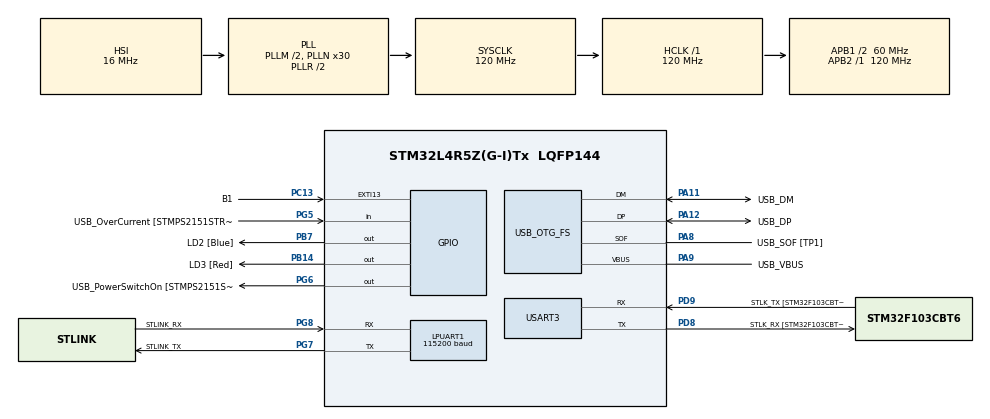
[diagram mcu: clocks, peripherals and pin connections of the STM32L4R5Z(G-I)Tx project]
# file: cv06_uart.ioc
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Dma.LPUART1_RX.0.Direction=DMA_PERIPH_TO_MEMORY
Dma.LPUART1_RX.0.EventEnable=DISABLE
Dma.LPUART1_RX.0.Instance=DMA1_Channel1
Dma.LPUART1_RX.0.MemDataAlignment=DMA_MDATAALIGN_BYTE
Dma.LPUART1_RX.0.MemInc=DMA_MINC_ENABLE
Dma.LPUART1_RX.0.Mode=DMA_NORMAL
Dma.LPUART1_RX.0.PeriphDataAlignment=DMA_PDATAALIGN_BYTE
Dma.LPUART1_RX.0.PeriphInc=DMA_PINC_DISABLE
Dma.LPUART1_RX.0.Polarity=HAL_DMAMUX_REQUEST_GEN_RISING
Dma.LPUART1_RX.0.Priority=DMA_PRIORITY_LOW
Dma.LPUART1_RX.0.RequestNumber=1
Dma.LPUART1_RX.0.SignalID=NONE
Dma.LPUART1_RX.0.SyncEnable=DISABLE
Dma.LPUART1_RX.0.SyncPolarity=HAL_DMAMUX_SYNC_NO_EVENT
Dma.LPUART1_RX.0.SyncRequestNumber=1
Dma.LPUART1_RX.0.SyncSignalID=NONE
Dma.LPUART1_TX.1.Direction=DMA_MEMORY_TO_PERIPH
Dma.LPUART1_TX.1.EventEnable=DISABLE
Dma.LPUART1_TX.1.Instance=DMA1_Channel2
Dma.LPUART1_TX.1.MemDataAlignment=DMA_MDATAALIGN_BYTE
Dma.LPUART1_TX.1.MemInc=DMA_MINC_ENABLE
Dma.LPUART1_TX.1.Mode=DMA_NORMAL
Dma.LPUART1_TX.1.PeriphDataAlignment=DMA_PDATAALIGN_BYTE
Dma.LPUART1_TX.1.PeriphInc=DMA_PINC_DISABLE
Dma.LPUART1_TX.1.Polarity=HAL_DMAMUX_REQUEST_GEN_RISING
Dma.LPUART1_TX.1.Priority=DMA_PRIORITY_LOW
Dma.LPUART1_TX.1.RequestNumber=1
Dma.LPUART1_TX.1.SignalID=NONE
Dma.LPUART1_TX.1.SyncEnable=DISABLE
Dma.LPUART1_TX.1.SyncPolarity=HAL_DMAMUX_SYNC_NO_EVENT
Dma.LPUART1_TX.1.SyncRequestNumber=1
Dma.LPUART1_TX.1.SyncSignalID=NONE
Dma.Request0=LPUART1_RX
Dma.Request1=LPUART1_TX
LPUART1.BaudRate=115200
LPUART1.WordLength=UART_WORDLENGTH_8B
Mcu.Family=STM32L4
Mcu.Name=STM32L4R5Z(G-I)Tx
Mcu.Package=LQFP144
NVIC.DMA1_Channel1_IRQn=true\:0\:0\:false\:false\:true\:false\:true\:true
NVIC.DMA1_Channel2_IRQn=true\:0\:0\:false\:false\:true\:false\:true\:true
NVIC.LPUART1_IRQn=true\:0\:0\:false\:false\:true\:true\:true\:true
NVIC.PriorityGroup=NVIC_PRIORITYGROUP_4
PA10.GPIO_Label=USB_ID
PA10.Signal=USB_OTG_FS_ID
PA11.GPIO_Label=USB_DM
PA11.Mode=Device_Only
PA11.Signal=USB_OTG_FS_DM
PA12.GPIO_Label=USB_DP
PA12.Mode=Device_Only
PA12.Signal=USB_OTG_FS_DP
PA13\ (JTMS/SWDIO).GPIO_Label=TMS
PA13\ (JTMS/SWDIO).Mode=Trace_Asynchronous_SW
PA13\ (JTMS/SWDIO).Signal=SYS_JTMS-SWDIO
PA14\ (JTCK/SWCLK).GPIO_Label=TCK
PA14\ (JTCK/SWCLK).Mode=Trace_Asynchronous_SW
PA14\ (JTCK/SWCLK).Signal=SYS_JTCK-SWCLK
PA8.GPIO_Label=USB_SOF [TP1]
PA8.Mode=Activate_SOF_FS
PA8.Signal=USB_OTG_FS_SOF
PA9.GPIO_Label=USB_VBUS
PA9.Mode=Activate_VBUS
PA9.Signal=USB_OTG_FS_VBUS
PB14.GPIO_Label=LD3 [Red]
PB14.Signal=GPIO_Output
PB3\ (JTDO/TRACESWO).GPIO_Label=SWO
PB3\ (JTDO/TRACESWO).Mode=Trace_Asynchronous_SW
PB3\ (JTDO/TRACESWO).Signal=SYS_JTDO-SWO
PB7.GPIO_Label=LD2 [Blue]
PB7.Signal=GPIO_Output
PC13.GPIO_Label=B1
PC13.Signal=GPXTI13
PC14-OSC32_IN\ (PC14).Mode=LSE-External-Oscillator
PC14-OSC32_IN\ (PC14).Signal=RCC_OSC32_IN
PC15-OSC32_OUT\ (PC15).Mode=LSE-External-Oscillator
PC15-OSC32_OUT\ (PC15).Signal=RCC_OSC32_OUT
PD8.GPIO_Label=STLK_RX [STM32F103CBT6_PA3]
PD8.Mode=Asynchronous
PD8.Signal=USART3_TX
PD9.GPIO_Label=STLK_TX [STM32F103CBT6_PA2]
PD9.Mode=Asynchronous
PD9.Signal=USART3_RX
PG5.GPIO_Label=USB_OverCurrent [STMPS2151STR_FAULT]
PG5.Signal=GPIO_Input
PG6.GPIO_Label=USB_PowerSwitchOn [STMPS2151STR_EN]
PG6.Signal=GPIO_Output
PG7.GPIO_Label=STLINK_TX
PG7.Mode=Asynchronous
PG7.Signal=LPUART1_TX
PG8.GPIO_Label=STLINK_RX
PG8.Mode=Asynchronous
PG8.Signal=LPUART1_RX
PH0-OSC_IN\ (PH0).Signal=RCC_OSC_IN
PH1-OSC_OUT\ (PH1).Signal=RCC_OSC_OUT
ProjectManager.HeapSize=0x200
ProjectManager.StackSize=0x400
ProjectManager.TargetToolchain=STM32CubeIDE
RCC.48MHZClocksFreq_Value=24000000
RCC.ADCFreq_Value=96000000
RCC.AHBFreq_Value=120000000
RCC.APB1CLKDivider=RCC_HCLK_DIV2
RCC.APB1Freq_Value=60000000
RCC.APB1TimFreq_Value=120000000
RCC.APB2Freq_Value=120000000
RCC.APB2TimFreq_Value=120000000
RCC.CK48CLockSelection=RCC_USBCLKSOURCE_HSI48
RCC.CortexFreq_Value=120000000
RCC.HCLKFreq_Value=120000000
RCC.HSE_VALUE=8000000
RCC.HSI48_VALUE=48000000
RCC.HSI_VALUE=16000000
RCC.MSI_VALUE=4000000
RCC.PLLM1=2
RCC.PLLMUL=RCC_PLL_MUL9
RCC.PLLN=30
RCC.PLLSAI1N=12
RCC.PLLSourceVirtual=RCC_PLLSOURCE_HSI
RCC.PRESCALERUSB=RCC_USBCLKSOURCE_PLL_DIV1_5
RCC.SYSCLKFreq_VALUE=120000000
RCC.SYSCLKSource=RCC_SYSCLKSOURCE_PLLCLK
RCC.SYSCLKSourceVirtual=RCC_SYSCLKSOURCE_PLLCLK
RCC.USBFreq_Value=48000000
RCC.VCOOutputFreq_Value=240000000
USART3.VirtualMode-Asynchronous=VM_ASYNC
USB_OTG_FS.VirtualMode=Device_Only
board=NUCLEO-L4R5ZI

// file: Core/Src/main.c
/* USER CODE BEGIN Header */
/**
  ******************************************************************************
  * @file           : main.c
  * @brief          : Main program body
  ******************************************************************************
  * @attention
  *
  * Copyright (c) 2025 STMicroelectronics.
  * All rights reserved.
  *
  * This software is licensed under terms that can be found in the LICENSE file
  * in the root directory of this software component.
  * If no LICENSE file comes with this software, it is provided AS-IS.
  *
  ******************************************************************************
  */
/* USER CODE END Header */
#include "main.h"

/* USER CODE BEGIN Includes */
#include "stdbool.h"
#include "string.h"
#include "stdio.h"
/* USER CODE END Includes */

UART_HandleTypeDef hlpuart1;
UART_HandleTypeDef huart3;
DMA_HandleTypeDef hdma_lpuart1_rx;
DMA_HandleTypeDef hdma_lpuart1_tx;

PCD_HandleTypeDef hpcd_USB_OTG_FS;

/* USER CODE BEGIN PV */
uint32_t blik_counter = 0;
bool blik_bool = true;
uint32_t cntr = 0;
char str[100];
uint32_t time_end;
uint32_t time_start;
uint32_t time_start2;

/* USER CODE END PV */

void SystemClock_Config(void);
static void MX_GPIO_Init(void);
static void MX_DMA_Init(void);
static void MX_LPUART1_UART_Init(void);
static void MX_USART3_UART_Init(void);
static void MX_USB_OTG_FS_PCD_Init(void);

/* USER CODE BEGIN 0 */
bool tx_in_process;
uint32_t len_process;
void HAL_UART_TxCpltCallback(UART_HandleTypeDef *huart){
	time_end = HAL_GetTick();
	time_start2 = time_start;
	tx_in_process = false;
	blik_bool = false;
}

/* USER CODE END 0 */

int main(void)
{

  /* MCU Configuration--------------------------------------------------------*/

  /* Reset of all peripherals, Initializes the Flash interface and the Systick. */
  HAL_Init();

  /* Configure the system clock */
  SystemClock_Config();

  /* Initialize all configured peripherals */
  MX_GPIO_Init();
  MX_DMA_Init();
  MX_LPUART1_UART_Init();
  MX_USART3_UART_Init();
  MX_USB_OTG_FS_PCD_Init();
  /* USER CODE BEGIN 2 */
  uint32_t state = 1;
  char type_of_transmit[15];
  char rxbuffer[10];
  uint8_t rxpos;
  HAL_StatusTypeDef err;
  /* USER CODE END 2 */

  /* Infinite loop */
  while (1)
  {

    /* USER CODE BEGIN 3 */
//	  HAL_UART_Transmit(&hlpuart1, (uint8_t *)"\r\nStart Programu\r\n", 18, 100);
//	  while (1){
//		  if (HAL_UART_Receive(&hlpuart1, (uint8_t *)&rxbuffer[rxpos], 1, 0) == HAL_OK){
//			  if (rxbuffer[rxpos] == '\r' || rxbuffer[rxpos] == '\n'){
//				  if (rxpos != 0){
//					  HAL_UART_Transmit(&hlpuart1, (uint8_t *)"\r\nPrikaz: ", 10, 100);
//					  HAL_UART_Transmit(&hlpuart1, (uint8_t *)rxbuffer, rxpos, 100);
//					  HAL_UART_Transmit(&hlpuart1, (uint8_t *)"\r\n", 2, 100);
//				  }
//				  rxpos = 0;
//			  }
//			  else if (rxpos + 1 < sizeof(rxbuffer)){
//				  HAL_UART_Transmit(&hlpuart1, (uint8_t *)&rxbuffer[rxpos], 1, 10);
//				  rxpos++;
//			  }
//		  }
//	  }

//	  sprintf(str, "aaaaaaaaaaaaaaaaaaaaaaaaaaaaaaaaaaaaaaaaaaaaaaaaaaaaaaaaaaaaaaaaaaaaaaaaaaaaaaaaaaaaaaaaaaaaaaaaaaa");
//	  if (!tx_in_process){
//		  time_start = HAL_GetTick();
//		  tx_in_process = true;
//		  switch (state){
//		  case 0:
//			  err = HAL_UART_Transmit(&hlpuart1, (uint8_t *)str, strlen(str), 100);
//			  sprintf(type_of_transmit, "Trasmit");
//			  break;
//		  case 1:
//			  err = HAL_UART_Transmit_DMA(&hlpuart1, (uint8_t *)str, strlen(str));
//			  sprintf(type_of_transmit, "Trasmit_DMA");
//			  break;
//		  case 2:
//			  err = HAL_UART_Transmit_IT(&hlpuart1, (uint8_t *)str, strlen(str));
//			  sprintf(type_of_transmit, "Trasmit_IT");
//			  break;
//		  }
//		  if (err != HAL_OK){
//			  Error_Handler();
//		  }
//	  }
//	  if (tx_in_process && blik_bool){
//		  HAL_GPIO_TogglePin(LD2_GPIO_Port, LD2_Pin);
//		  blik_counter += 1;
//	  }
//	  if (!blik_bool){
//			sprintf(str, "\r\n Start: %lu ,Transmit length: %lu, Blik count: %lu, Type: %s  \r\n", time_start, time_end-time_start2, blik_counter, type_of_transmit);
//			if (!tx_in_process){
//				tx_in_process = 1;
//				err = HAL_UART_Transmit(&hlpuart1, (uint8_t *)str, strlen(str),100);
//				blik_counter = 0;
//			}
//			if (err != HAL_OK){
//				  Error_Handler();
//			}
//			HAL_Delay(1000);
//			state = state + 1;
//			blik_bool = true;
//	  }
//	  if (state > 2){
//		  state = 1;
//	  }
//  }
  /* USER CODE END 3 */
}

void SystemClock_Config(void)
{
  RCC_OscInitTypeDef RCC_OscInitStruct = {0};
  RCC_ClkInitTypeDef RCC_ClkInitStruct = {0};

  /** Configure the main internal regulator output voltage
  */
  if (HAL_PWREx_ControlVoltageScaling(PWR_REGULATOR_VOLTAGE_SCALE1_BOOST) != HAL_OK)
  {
    Error_Handler();
  }

  /** Initializes the RCC Oscillators according to the specified parameters
  * in the RCC_OscInitTypeDef structure.
  */
  RCC_OscInitStruct.OscillatorType = RCC_OSCILLATORTYPE_HSI48|RCC_OSCILLATORTYPE_HSI;
  RCC_OscInitStruct.HSIState = RCC_HSI_ON;
  RCC_OscInitStruct.HSI48State = RCC_HSI48_ON;
  RCC_OscInitStruct.HSICalibrationValue = RCC_HSICALIBRATION_DEFAULT;
  RCC_OscInitStruct.PLL.PLLState = RCC_PLL_ON;
  RCC_OscInitStruct.PLL.PLLSource = RCC_PLLSOURCE_HSI;
  RCC_OscInitStruct.PLL.PLLM = 2;
  RCC_OscInitStruct.PLL.PLLN = 30;
  RCC_OscInitStruct.PLL.PLLP = RCC_PLLP_DIV2;
  RCC_OscInitStruct.PLL.PLLQ = RCC_PLLQ_DIV2;
  RCC_OscInitStruct.PLL.PLLR = RCC_PLLR_DIV2;
  if (HAL_RCC_OscConfig(&RCC_OscInitStruct) != HAL_OK)
  {
    Error_Handler();
  }

  /** Initializes the CPU, AHB and APB buses clocks
  */
  RCC_ClkInitStruct.ClockType = RCC_CLOCKTYPE_HCLK|RCC_CLOCKTYPE_SYSCLK
                              |RCC_CLOCKTYPE_PCLK1|RCC_CLOCKTYPE_PCLK2;
  RCC_ClkInitStruct.SYSCLKSource = RCC_SYSCLKSOURCE_PLLCLK;
  RCC_ClkInitStruct.AHBCLKDivider = RCC_SYSCLK_DIV1;
  RCC_ClkInitStruct.APB1CLKDivider = RCC_HCLK_DIV2;
  RCC_ClkInitStruct.APB2CLKDivider = RCC_HCLK_DIV1;

  if (HAL_RCC_ClockConfig(&RCC_ClkInitStruct, FLASH_LATENCY_5) != HAL_OK)
  {
    Error_Handler();
  }
}

static void MX_LPUART1_UART_Init(void)
{

  hlpuart1.Instance = LPUART1;
  hlpuart1.Init.BaudRate = 115200;
  hlpuart1.Init.WordLength = UART_WORDLENGTH_8B;
  hlpuart1.Init.StopBits = UART_STOPBITS_1;
  hlpuart1.Init.Parity = UART_PARITY_NONE;
  hlpuart1.Init.Mode = UART_MODE_TX_RX;
  hlpuart1.Init.HwFlowCtl = UART_HWCONTROL_NONE;
  hlpuart1.Init.OneBitSampling = UART_ONE_BIT_SAMPLE_DISABLE;
  hlpuart1.Init.ClockPrescaler = UART_PRESCALER_DIV1;
  hlpuart1.AdvancedInit.AdvFeatureInit = UART_ADVFEATURE_NO_INIT;
  hlpuart1.FifoMode = UART_FIFOMODE_DISABLE;
  if (HAL_UART_Init(&hlpuart1) != HAL_OK)
  {
    Error_Handler();
  }
  if (HAL_UARTEx_SetTxFifoThreshold(&hlpuart1, UART_TXFIFO_THRESHOLD_1_8) != HAL_OK)
  {
    Error_Handler();
  }
  if (HAL_UARTEx_SetRxFifoThreshold(&hlpuart1, UART_RXFIFO_THRESHOLD_1_8) != HAL_OK)
  {
    Error_Handler();
  }
  if (HAL_UARTEx_DisableFifoMode(&hlpuart1) != HAL_OK)
  {
    Error_Handler();
  }

}

static void MX_USART3_UART_Init(void)
{

  huart3.Instance = USART3;
  huart3.Init.BaudRate = 115200;
  huart3.Init.WordLength = UART_WORDLENGTH_8B;
  huart3.Init.StopBits = UART_STOPBITS_1;
  huart3.Init.Parity = UART_PARITY_NONE;
  huart3.Init.Mode = UART_MODE_TX_RX;
  huart3.Init.HwFlowCtl = UART_HWCONTROL_NONE;
  huart3.Init.OverSampling = UART_OVERSAMPLING_16;
  huart3.Init.OneBitSampling = UART_ONE_BIT_SAMPLE_DISABLE;
  huart3.Init.ClockPrescaler = UART_PRESCALER_DIV1;
  huart3.AdvancedInit.AdvFeatureInit = UART_ADVFEATURE_NO_INIT;
  if (HAL_UART_Init(&huart3) != HAL_OK)
  {
    Error_Handler();
  }
  if (HAL_UARTEx_SetTxFifoThreshold(&huart3, UART_TXFIFO_THRESHOLD_1_8) != HAL_OK)
  {
    Error_Handler();
  }
  if (HAL_UARTEx_SetRxFifoThreshold(&huart3, UART_RXFIFO_THRESHOLD_1_8) != HAL_OK)
  {
    Error_Handler();
  }
  if (HAL_UARTEx_DisableFifoMode(&huart3) != HAL_OK)
  {
    Error_Handler();
  }

}

static void MX_USB_OTG_FS_PCD_Init(void)
{

  hpcd_USB_OTG_FS.Instance = USB_OTG_FS;
  hpcd_USB_OTG_FS.Init.dev_endpoints = 6;
  hpcd_USB_OTG_FS.Init.speed = PCD_SPEED_FULL;
  hpcd_USB_OTG_FS.Init.phy_itface = PCD_PHY_EMBEDDED;
  hpcd_USB_OTG_FS.Init.Sof_enable = ENABLE;
  hpcd_USB_OTG_FS.Init.low_power_enable = DISABLE;
  hpcd_USB_OTG_FS.Init.lpm_enable = DISABLE;
  hpcd_USB_OTG_FS.Init.battery_charging_enable = ENABLE;
  hpcd_USB_OTG_FS.Init.use_dedicated_ep1 = DISABLE;
  hpcd_USB_OTG_FS.Init.vbus_sensing_enable = ENABLE;
  if (HAL_PCD_Init(&hpcd_USB_OTG_FS) != HAL_OK)
  {
    Error_Handler();
  }

}

static void MX_DMA_Init(void)
{

  /* DMA controller clock enable */
  __HAL_RCC_DMAMUX1_CLK_ENABLE();
  __HAL_RCC_DMA1_CLK_ENABLE();

  /* DMA interrupt init */
  /* DMA1_Channel1_IRQn interrupt configuration */
  HAL_NVIC_SetPriority(DMA1_Channel1_IRQn, 0, 0);
  HAL_NVIC_EnableIRQ(DMA1_Channel1_IRQn);
  /* DMA1_Channel2_IRQn interrupt configuration */
  HAL_NVIC_SetPriority(DMA1_Channel2_IRQn, 0, 0);
  HAL_NVIC_EnableIRQ(DMA1_Channel2_IRQn);

}

static void MX_GPIO_Init(void)
{
  GPIO_InitTypeDef GPIO_InitStruct = {0};

  /* GPIO Ports Clock Enable */
  __HAL_RCC_GPIOC_CLK_ENABLE();
  __HAL_RCC_GPIOH_CLK_ENABLE();
  __HAL_RCC_GPIOB_CLK_ENABLE();
  __HAL_RCC_GPIOD_CLK_ENABLE();
  __HAL_RCC_GPIOG_CLK_ENABLE();
  HAL_PWREx_EnableVddIO2();
  __HAL_RCC_GPIOA_CLK_ENABLE();

  /*Configure GPIO pin Output Level */
  HAL_GPIO_WritePin(GPIOB, LD3_Pin|LD2_Pin, GPIO_PIN_RESET);

  /*Configure GPIO pin Output Level */
  HAL_GPIO_WritePin(USB_PowerSwitchOn_GPIO_Port, USB_PowerSwitchOn_Pin, GPIO_PIN_RESET);

  /*Configure GPIO pin : B1_Pin */
  GPIO_InitStruct.Pin = B1_Pin;
  GPIO_InitStruct.Mode = GPIO_MODE_IT_RISING;
  GPIO_InitStruct.Pull = GPIO_NOPULL;
  HAL_GPIO_Init(B1_GPIO_Port, &GPIO_InitStruct);

  /*Configure GPIO pins : LD3_Pin LD2_Pin */
  GPIO_InitStruct.Pin = LD3_Pin|LD2_Pin;
  GPIO_InitStruct.Mode = GPIO_MODE_OUTPUT_PP;
  GPIO_InitStruct.Pull = GPIO_NOPULL;
  GPIO_InitStruct.Speed = GPIO_SPEED_FREQ_LOW;
  HAL_GPIO_Init(GPIOB, &GPIO_InitStruct);

  /*Configure GPIO pin : USB_OverCurrent_Pin */
  GPIO_InitStruct.Pin = USB_OverCurrent_Pin;
  GPIO_InitStruct.Mode = GPIO_MODE_INPUT;
  GPIO_InitStruct.Pull = GPIO_NOPULL;
  HAL_GPIO_Init(USB_OverCurrent_GPIO_Port, &GPIO_InitStruct);

  /*Configure GPIO pin : USB_PowerSwitchOn_Pin */
  GPIO_InitStruct.Pin = USB_PowerSwitchOn_Pin;
  GPIO_InitStruct.Mode = GPIO_MODE_OUTPUT_PP;
  GPIO_InitStruct.Pull = GPIO_NOPULL;
  GPIO_InitStruct.Speed = GPIO_SPEED_FREQ_LOW;
  HAL_GPIO_Init(USB_PowerSwitchOn_GPIO_Port, &GPIO_InitStruct);

}

void Error_Handler(void)
{
  __disable_irq();
  while (1)
  {
  }
}

//aaaaaaaaaaaaaaaaaaaaaaaaaaaaaaaaaaaaaaaaaaaaaaaaaaaaaaaaaaaaaaaaaaaaaaaaaaaaaaaaaaaaaaaaaaaaaaaaaaaaa
//Start: 19 ,Transmit length: 8, Blik count: 608, Type: Trasmit_DMA
//aaaaaaaaaaaaaaaaaaaaaaaaaaaaaaaaaaaaaaaaaaaaaaaaaaaaaaaaaaaaaaaaaaaaaaaaaaaaaaaaaaaaaaaaaaaaaaaaaaaaaaaaaaaaaaaaaaaaaaaaaaaaaaa
//Start: 1028 ,Transmit length: 8, Blik count: 1182, Type: Trasmit_IT
//aaaaaaaaaaaaaaaaaaaaaaaaaaaaaaaaaaaaaaaaaaaaaaaaaaaaaaaaaaaaaaaaaaaaaaaaaaaaaaaaaaaaaaaaaaaaaaaaaaaaaaaaaaaaaaaaaaaaaaaaaaaaa
//Start: 2037 ,Transmit length: 8, Blik count: 1790, Type: Trasmit_DMA
//aaaaaaaaaaaaaaaaaaaaaaaaaaaaaaaaaaaaaaaaaaaaaaaaaaaaaaaaaaaaaaaaaaaaaaaaaaaaaaaaaaaaaaaaaaaaaaaaaaaaaaaaaaaaaaaaaaaaaaaaaaaa
//Start: 3046 ,Transmit length: 8, Blik count: 2364, Type: Trasmit_IT
